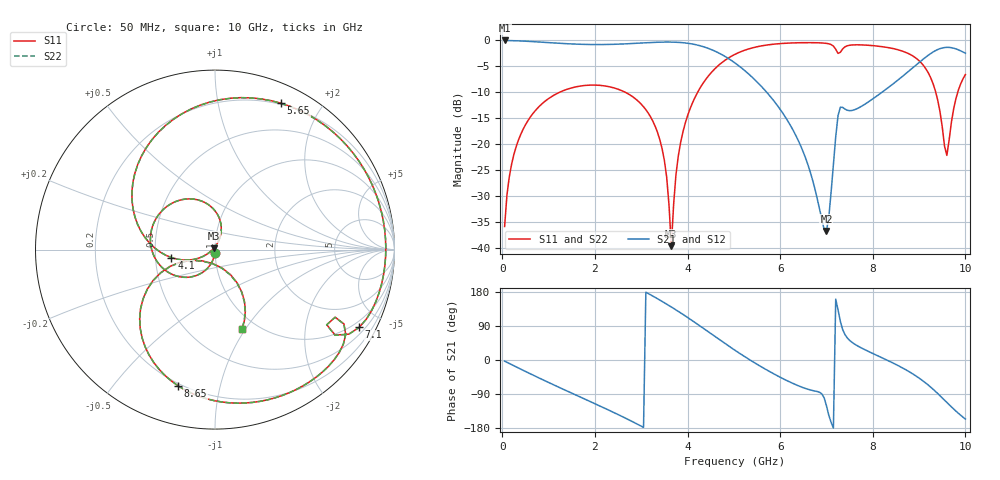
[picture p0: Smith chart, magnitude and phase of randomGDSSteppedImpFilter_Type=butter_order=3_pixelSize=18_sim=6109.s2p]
! freq	dB(S11)	phase(S11)	dB(S12)	phase(S12)
!  dB(S21)	phase(S21)	dB(S22)	phase(S22)
!S-par simulation data
#  GHz  S  DB  R 50
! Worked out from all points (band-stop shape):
!   200 points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, 50 MHz to 10 GHz, reference 50 ohm
!   highest |S21| = -0.01 dB at 50 MHz (marker M1); lowest = -36.7 dB at 7 GHz (marker M2)
!   |S21| within 3 dB of the highest: start of sweep to 4.795 GHz; 9.175 GHz to end of sweep
!   lowest |S11| = -39.6 dB at 3.65 GHz (marker M3), VSWR 1.02, Z = 49.2 + j0.706 ohm
!   |S11| at or under -10 dB: start of sweep to 1.232 GHz; 2.658 GHz to 4.217 GHz (1.559 GHz wide, 45.3 % of centre); 9.36 GHz to 9.834 GHz (474.5 MHz wide, 4.94 % of centre)
!   |S22| runs from -39.9 to -0.4 dB; largest |S21 - S12| = 0
!   S11 on the Smith chart (normalised r, x): 50 MHz: 1.00, -0.03; 4.1 GHz: 0.61, -0.06; 5.65 GHz: 0.19, +1.53; 7.1 GHz: 0.74, -3.83; 8.65 GHz: 0.19, -0.75; 10 GHz: 0.85, -0.97
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0.05  -35.82 -92.9  -0.01 -3.1  -0.01 -3.1  -35.82 -92.9
0.2  -23.87 -102.3  -0.04 -12.2  -0.04 -12.2  -23.87 -102.3
0.5  -16.25 -120.6  -0.15 -30.2  -0.15 -30.2  -16.25 -120.6
1.75  -8.70 168.1  -0.76 -101.4  -0.76 -101.4  -8.70 168.0
2.7  -10.20 114.2  -0.64 -155.8  -0.64 -155.8  -10.20 114.1
3.4  -19.07 71.8  -0.34 158.3  -0.34 158.3  -19.07 71.6
3.55  -26.36 67.8  -0.31 147.4  -0.31 147.4  -26.37 67.4
3.65  -39.61 136.7  -0.32 140.0  -0.32 140.0  -39.88 136.3
3.8  -22.29 -150.4  -0.37 128.4  -0.37 128.4  -22.30 -150.2
4.1  -12.16 -169.6  -0.68 104.1  -0.68 104.1  -12.17 -169.5
4.6  -5.38 149.2  -2.09 61.4  -2.09 61.4  -5.38 149.1
5.05  -2.56 111.7  -4.50 23.6  -4.50 23.6  -2.56 111.6
5.65  -0.97 65.7  -9.38 -22.0  -9.38 -22.0  -0.97 65.7
6.7  -0.43 -2.3  -26.88 -80.5  -26.88 -80.5  -0.43 -2.4
7  -0.57 -21.1  -36.68 -120.7  -36.68 -120.7  -0.57 -21.2
7.1  -0.79 -28.3  -29.25 -164.4  -29.25 -164.4  -0.80 -28.4
7.3  -2.29 -29.4  -12.86 101.8  -12.86 101.8  -2.29 -29.4
8.35  -1.41 -87.2  -8.97 -2.8  -8.97 -2.8  -1.41 -87.3
8.65  -2.09 -105.2  -6.86 -21.4  -6.86 -21.4  -2.09 -105.2
9.25  -7.17 -149.6  -2.53 -71.5  -2.53 -71.5  -7.17 -149.5
9.6  -22.14 -100.2  -1.33 -112.0  -1.33 -112.0  -21.95 -100.5
10  -6.57 -71.3  -2.46 -155.8  -2.46 -155.8  -6.57 -71.4
